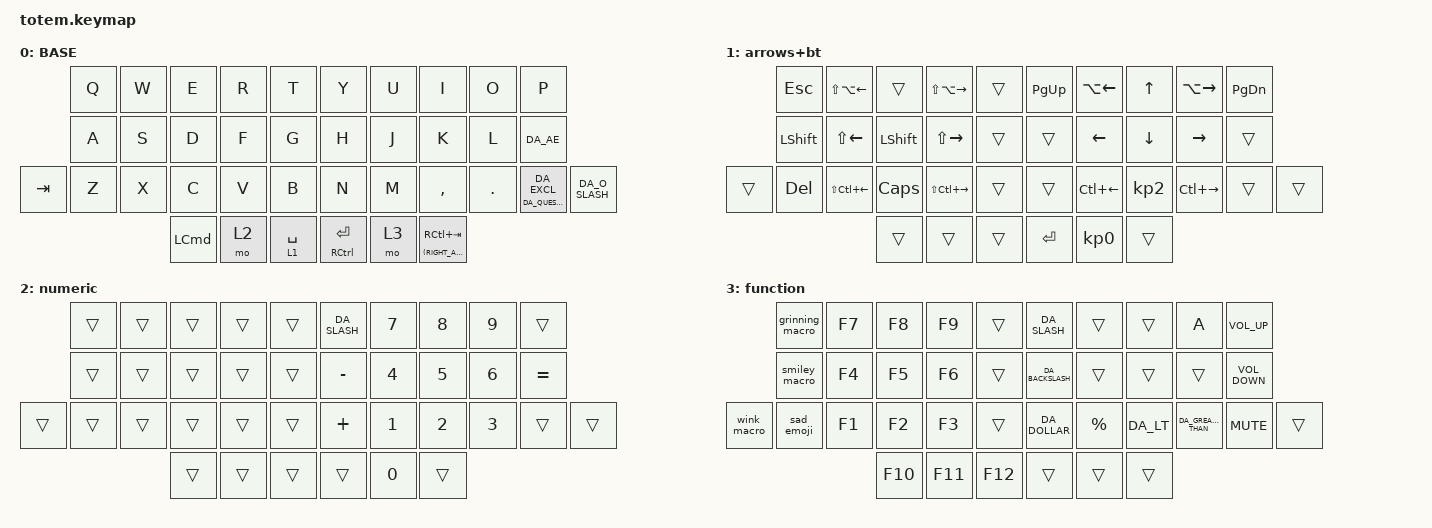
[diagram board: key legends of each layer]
//
//                                                        ▀▀▀▀▀     ▀▀▀▀▀          ▀▀█▀▀
//                                                        ▄▀▀▀▄  ▄  ▄▀▀▀▄  ▄  ▄▀▀▀▄  █  ▄▀▀▀▄
//                                                        █   █  █  █   █  █  █   █  █  █   █
//                                                         ▀▀▀   █   ▀▀▀   █   ▀▀▀   ▀   ▀▀▀
//                                                               █      ▄▄▄█▄▄▄    █   █
//                                                               ▀      █  █  █     █▄█
//                                                             ▀▀▀▀▀    █  █  █      ▀
//                                                                      ▀  ▀  ▀
//
// ▄▄▄▄▄▄▄▄▄▄▄▄▄▄▄▄▄▄▄▄▄▄▄▄▄▄▄▄▄▄▄▄▄▄▄▄▄▄▄▄▄▄▄▄▄▄▄▄▄▄▄▄▄▄▄▄▄▄▄▄▄▄▄▄▄▄▄▄▄▄▄▄▄▄▄▄▄▄▄▄▄▄▄▄▄▄▄▄▄▄▄▄▄▄▄▄▄▄▄▄▄▄▄▄▄▄▄▄▄▄▄▄▄▄▄▄▄▄▄▄▄▄▄▄▄▄▄▄▄▄▄▄▄▄▄▄▄▄▄▄▄▄▄▄▄▄▄▄▄

#include "keys_da.h"
#include <behaviors.dtsi>
#include <dt-bindings/zmk/bt.h>
#include <dt-bindings/zmk/keys.h>

#define BASE 0
#define NAV  1
#define SYM  2
#define ADJ  3
#define TVP1 4
#define TVP2 5

&mt {
    quick-tap-ms = <100>;
    global-quick-tap;
    flavor = "tap-preferred";
    tapping-term-ms = <170>;
};

/ {
    combos {
        compatible = "zmk,combos";

        combo_esc {
            timeout-ms = <50>;
            key-positions = <0 1>;
            bindings = <&kp ESC>;
        };

        backspace-combo {
            bindings = <&kp BACKSPACE>;
            key-positions = <6 7>;
            layers = <0 2 3>;
        };

        delete-combo {
            bindings = <&kp DELETE>;
            key-positions = <7 8>;
            layers = <0 2 3>;
        };

        a-ring-combo {
            bindings = <&kp DA_A_RING>;
            key-positions = <19 31>;
        };

        bt-clear-combo {
            bindings = <&bt BT_CLR>;
            key-positions = <9 30 21 0>;
        };

        minus-combo {
            bindings = <&kp DA_MINUS>;
            key-positions = <5 6>;
        };

        underscore-combo {
            bindings = <&kp DA_UNDER>;
            key-positions = <26 27>;
        };

        single-quote-combo {
            bindings = <&kp DA_SINGLE_QUOTE>;
            key-positions = <24 25>;
        };

        double-quote-combo {
            bindings = <&kp DA_DOUBLE_QUOTES>;
            key-positions = <3 4>;
        };

        copy-paste-combo {
            bindings = <&kp RC(C)>;
            key-positions = <8 1>;
        };

        paste-combo {
            bindings = <&kp RC(V)>;
            key-positions = <25 26>;
        };

        left-shift-combo {
            bindings = <&kp LEFT_SHIFT>;
            key-positions = <13 14>;
        };

        right-shift-combo {
            bindings = <&kp RIGHT_SHIFT>;
            key-positions = <15 16>;
        };

        bottom-shift-combo {
            bindings = <&kp LEFT_SHIFT>;
            key-positions = <36 33>;
        };

        semicolon-combo {
            bindings = <&kp DA_SEMICOLON>;
            key-positions = <16 17>;
        };

        colon-combo {
            bindings = <&kp DA_COLON>;
            key-positions = <17 18>;
        };

        left-paran-combo {
            bindings = <&kp DA_LEFT_PARENTHESIS>;
            key-positions = <2 1>;
        };

        right-paran-combo {
            bindings = <&kp DA_RIGHT_PARENTHESIS>;
            key-positions = <2 3>;
        };

        squared-bracket-combo {
            bindings = <&kp DA_LEFT_BRACKET>;
            key-positions = <11 12>;
        };

        square-bracket-close-combo {
            bindings = <&kp DA_RIGHT_BRACKET>;
            key-positions = <12 13>;
        };

        left-brace-combo {
            bindings = <&kp RS(RA(N8))>;
            key-positions = <23 22>;
        };

        right-brace-combo {
            bindings = <&kp RS(RA(N9))>;
            key-positions = <23 24>;
        };

        backspace-word-combo {
            bindings = <&kp RA(BACKSPACE)>;
            key-positions = <7 6>;
            layers = <1>;
        };

        delete-word-combo {
            bindings = <&kp RA(DELETE)>;
            key-positions = <7 8>;
            layers = <1>;
        };

        esc-combo {
            bindings = <&kp ESCAPE>;
            key-positions = <20 31>;
        };

        comment-code-combo {
            bindings = <&kp LC(KP_SLASH)>;
            key-positions = <4 14>;
        };

        Space {
            bindings = <&kp SPACE>;
            key-positions = <30 31>;
        };
    };

    macros {
        gif: gif {
            label = "giphy";
            compatible = "zmk,behavior-macro";
            #binding-cells = <0>;
            bindings =
                <&macro_press>,
                <&kp LSHFT>,
                <&macro_tap>,
                <&kp N2>,
                <&macro_release>,
                <&kp LSHFT>,
                <&macro_tap>,
                <&kp G &kp I &kp F>;
        };

        smiley_macro: smiley_macro {
            compatible = "zmk,behavior-macro";
            #binding-cells = <0>;
            bindings = <&kp DA_COLON &kp DA_RIGHT_PARENTHESIS &kp SPACE>;
            label = "SMILEY_MACRO";
        };

        wink_macro: wink_macro {
            compatible = "zmk,behavior-macro";
            #binding-cells = <0>;
            bindings = <&kp DA_SEMI &kp DA_RIGHT_PARENTHESIS &kp SPACE>;
            label = "WINK_MACRO";
        };

        grinning_macro: grinning_macro {
            compatible = "zmk,behavior-macro";
            #binding-cells = <0>;
            bindings = <&kp DA_COLON &kp LS(D) &kp SPACE>;
            label = "GRINNING_MACRO";
        };

        sad_emoji: sac_emoji {
            compatible = "zmk,behavior-macro";
            #binding-cells = <0>;
            bindings = <&kp DA_COLON &kp DA_LEFT_PARENTHESIS &kp SPACE>;
            label = "SAC_EMOJI";
        };
    };

    behaviors {
        ht: ht {
            compatible = "zmk,behavior-hold-tap";
            label = "HT";
            bindings = <&kp>, <&kp>;

            #binding-cells = <2>;
            tapping-term-ms = <200>;
            hold-trigger-key-positions = <37 15 5 6 7 8 9 19 31 30 29 18 17 28 16 27 26 36 0 1 2 3 4 5 6 7 8 9 10 11 12 13 14 15 16 17 18 19 20 21 22 23 24 25 26 27 28 29 30 31 32 33 34 35 36 37>;
        };
    };

    keymap {
        compatible = "zmk,keymap";

        // ▄▄▄▄▄▄▄▄▄▄▄▄▄▄▄▄▄▄▄▄▄▄▄▄▄▄▄▄▄▄▄▄▄▄▄▄▄▄▄▄▄▄▄▄▄▄▄▄▄▄▄▄▄▄▄▄▄▄▄▄▄▄▄▄▄▄▄▄▄▄▄▄▄▄▄▄▄▄▄▄▄▄▄▄▄▄▄▄▄▄▄▄▄▄▄▄▄▄▄▄▄▄▄▄▄▄▄▄▄▄▄▄▄▄▄▄▄▄▄▄▄▄▄▄▄▄▄▄▄▄▄▄▄▄▄▄▄▄▄▄▄▄▄▄▄▄▄▄▄

        base_layer {
            // ┏━━━━━━━━━━━━━━━━━━━━━━━━━━━━━━━━━━━━━━━┓

            label = "BASE";

            // ┗━━━━━━━━━━━━━━━━━━━━━━━━━━━━━━━━━━━━━━━┛
            //             ┏━━━━━━━━━━━┳━━━━━━━━━━━┳━━━━━━━━━━━┳━━━━━━━━━━━┳━━━━━━━━━━━┓   ┏━━━━━━━━━━━┳━━━━━━━━━━━┳━━━━━━━━━━━┳━━━━━━━━━━━┳━━━━━━━━━━━┓
            //             ┃     Q     ┃     W     ┃     F     ┃     P     ┃     G     ┃   ┃     J     ┃     L     ┃     U     ┃     Y     ┃     ;     ┃
            //             ┣━━━━━━━━━━━╋━━━━━━━━━━━╋━━━━━━━━━━━╋━━━━━━━━━━━╋━━━━━━━━━━━┫   ┣━━━━━━━━━━━╋━━━━━━━━━━━╋━━━━━━━━━━━╋━━━━━━━━━━━╋━━━━━━━━━━━┫
            //             ┃     A     ┃     R     ┃     S     ┃     T     ┃     D     ┃   ┃     H     ┃     N     ┃     E     ┃     I     ┃     O     ┃
            // ┏━━━━━━━━━━━╋━━━━━━━━━━━╋━━━━━━━━━━━╋━━━━━━━━━━━╋━━━━━━━━━━━╋━━━━━━━━━━━┫   ┣━━━━━━━━━━━╋━━━━━━━━━━━╋━━━━━━━━━━━╋━━━━━━━━━━━╋━━━━━━━━━━━╋━━━━━━━━━━━┓
            // ┃     Q     ┃     Z     ┃     X     ┃     C     ┃     V     ┃     B     ┃   ┃     K     ┃     M     ┃     ,     ┃     .     ┃     /     ┃     \     ┃
            // ┗━━━━━━━━━━━┻━━━━━━━━━━━┻━━━━━━━━━━━╋━━━━━━━━━━━╋━━━━━━━━━━━╋━━━━━━━━━━━┫   ┣━━━━━━━━━━━╋━━━━━━━━━━━╋━━━━━━━━━━━╋━━━━━━━━━━━┻━━━━━━━━━━━┻━━━━━━━━━━━┛
            //                                     ┃    DEL    ┃    TAB    ┃    SPC    ┃   ┃   ENTER   ┃           ┃   BSPC    ┃
            //                                     ┗━━━━━━━━━━━┻━━━━━━━━━━━┻━━━━━━━━━━━┛   ┗━━━━━━━━━━━┻━━━━━━━━━━━┻━━━━━━━━━━━┛

            bindings = <
         &kp Q  &kp W  &kp E             &kp R  &kp T          &kp Y                    &kp U  &kp I                    &kp O    &kp P
         &kp A  &kp S  &kp D             &kp F  &kp G          &kp H                    &kp J  &kp K                    &kp L    &kp DA_AE
&kp TAB  &kp Z  &kp X  &kp C             &kp V  &kp B          &kp N                    &kp M  &kp COMMA                &kp DOT  &mt DA_QUESTION DA_EXCL  &kp DA_O_SLASH
                       &kp LEFT_COMMAND  &mo 2  &lt 1 SPACE    &mt RIGHT_CONTROL ENTER  &mo 3  &ht (RIGHT_ALT) RC(TAB)
            >;
        };

        // ▄▄▄▄▄▄▄▄▄▄▄▄▄▄▄▄▄▄▄▄▄▄▄▄▄▄▄▄▄▄▄▄▄▄▄▄▄▄▄▄▄▄▄▄▄▄▄▄▄▄▄▄▄▄▄▄▄▄▄▄▄▄▄▄▄▄▄▄▄▄▄▄▄▄▄▄▄▄▄▄▄▄▄▄▄▄▄▄▄▄▄▄▄▄▄▄▄▄▄▄▄▄▄▄▄▄▄▄▄▄▄▄▄▄▄▄▄▄▄▄▄▄▄▄▄▄▄▄▄▄▄▄▄▄▄▄▄▄▄▄▄▄▄▄▄▄▄▄▄

        arrows {
            // ┏━━━━━━━━━━━━━━━━━━━━━━━━━━━━━━━━━━━━━━━┓

            label = "arrows+bt";

            // ┗━━━━━━━━━━━━━━━━━━━━━━━━━━━━━━━━━━━━━━━┛
            //             ┏━━━━━━━━━━━┳━━━━━━━━━━━┳━━━━━━━━━━━┳━━━━━━━━━━━┳━━━━━━━━━━━┓   ┏━━━━━━━━━━━┳━━━━━━━━━━━┳━━━━━━━━━━━┳━━━━━━━━━━━┳━━━━━━━━━━━┓
            //             ┃           ┃           ┃     UP    ┃           ┃     {     ┃   ┃     }     ┃     7     ┃     8     ┃     9     ┃     +     ┃
            //             ┣━━━━━━━━━━━╋━━━━━━━━━━━╋━━━━━━━━━━━╋━━━━━━━━━━━╋━━━━━━━━━━━┫   ┣━━━━━━━━━━━╋━━━━━━━━━━━╋━━━━━━━━━━━╋━━━━━━━━━━━╋━━━━━━━━━━━┫
            //             ┃   SHIFT   ┃   LEFT    ┃    DOWN   ┃   RIGHT   ┃     [     ┃   ┃     ]     ┃     4     ┃     5     ┃     6     ┃     -     ┃
            // ┏━━━━━━━━━━━╋━━━━━━━━━━━╋━━━━━━━━━━━╋━━━━━━━━━━━╋━━━━━━━━━━━╋━━━━━━━━━━━┫   ┣━━━━━━━━━━━╋━━━━━━━━━━━╋━━━━━━━━━━━╋━━━━━━━━━━━╋━━━━━━━━━━━╋━━━━━━━━━━━┓
            // ┃           ┃           ┃   P UP    ┃  C LOCK   ┃  P DOWN   ┃     (     ┃   ┃     )     ┃     1     ┃     2     ┃     3     ┃     *     ┃           ┃
            // ┗━━━━━━━━━━━┻━━━━━━━━━━━┻━━━━━━━━━━━╋━━━━━━━━━━━╋━━━━━━━━━━━╋━━━━━━━━━━━┫   ┣━━━━━━━━━━━╋━━━━━━━━━━━╋━━━━━━━━━━━╋━━━━━━━━━━━┻━━━━━━━━━━━┻━━━━━━━━━━━┛
            //                                     ┃           ┃    TAB    ┃    SPC    ┃   ┃    DEL    ┃     0     ┃           ┃
            //                                     ┗━━━━━━━━━━━┻━━━━━━━━━━━┻━━━━━━━━━━━┛   ┗━━━━━━━━━━━┻━━━━━━━━━━━┻━━━━━━━━━━━┛

            bindings = <
        &kp ESC    &kp LS(LA(LEFT))  &trans     &kp LS(LA(RIGHT))  &trans    &kp PG_UP  &kp LA(LEFT)  &kp UP     &kp LA(RIGHT)  &kp PG_DN
        &kp LSHFT  &kp LS(LEFT)      &kp LSHFT  &kp LS(RIGHT)      &trans    &trans     &kp LEFT      &kp DOWN   &kp RIGHT      &trans
&trans  &kp DEL    &kp LS(LC(LEFT))  &kp CAPS   &kp LS(LC(RIGHT))  &trans    &trans     &kp LC(LEFT)  &kp KP_N2  &kp LC(RIGHT)  &trans     &trans
                                     &trans     &trans             &trans    &kp RET    &kp KP_N0     &trans
            >;
        };

        // ▄▄▄▄▄▄▄▄▄▄▄▄▄▄▄▄▄▄▄▄▄▄▄▄▄▄▄▄▄▄▄▄▄▄▄▄▄▄▄▄▄▄▄▄▄▄▄▄▄▄▄▄▄▄▄▄▄▄▄▄▄▄▄▄▄▄▄▄▄▄▄▄▄▄▄▄▄▄▄▄▄▄▄▄▄▄▄▄▄▄▄▄▄▄▄▄▄▄▄▄▄▄▄▄▄▄▄▄▄▄▄▄▄▄▄▄▄▄▄▄▄▄▄▄▄▄▄▄▄▄▄▄▄▄▄▄▄▄▄▄▄▄▄▄▄▄▄▄▄
        // ▄▄▄▄▄▄▄▄▄▄▄▄▄▄▄▄▄▄▄▄▄▄▄▄▄▄▄▄▄▄▄▄▄▄▄▄▄▄▄▄▄▄▄▄▄▄▄▄▄▄▄▄▄▄▄▄▄▄▄▄▄▄▄▄▄▄▄▄▄▄▄▄▄▄▄▄▄▄▄▄▄▄▄▄▄▄▄▄▄▄▄▄▄▄▄▄▄▄▄▄▄▄▄▄▄▄▄▄▄▄▄▄▄▄▄▄▄▄▄▄▄▄▄▄▄▄▄▄▄▄▄▄▄▄▄▄▄▄▄▄▄▄▄▄▄▄▄▄▄
        // ▄▄▄▄▄▄▄▄▄▄▄▄▄▄▄▄▄▄▄▄▄▄▄▄▄▄▄▄▄▄▄▄▄▄▄▄▄▄▄▄▄▄▄▄▄▄▄▄▄▄▄▄▄▄▄▄▄▄▄▄▄▄▄▄▄▄▄▄▄▄▄▄▄▄▄▄▄▄▄▄▄▄▄▄▄▄▄▄▄▄▄▄▄▄▄▄▄▄▄▄▄▄▄▄▄▄▄▄▄▄▄▄▄▄▄▄▄▄▄▄▄▄▄▄▄▄▄▄▄▄▄▄▄▄▄▄▄▄▄▄▄▄▄▄▄▄▄▄▄
        // ▄▄▄▄▄▄▄▄▄▄▄▄▄▄▄▄▄▄▄▄▄▄▄▄▄▄▄▄▄▄▄▄▄▄▄▄▄▄▄▄▄▄▄▄▄▄▄▄▄▄▄▄▄▄▄▄▄▄▄▄▄▄▄▄▄▄▄▄▄▄▄▄▄▄▄▄▄▄▄▄▄▄▄▄▄▄▄▄▄▄▄▄▄▄▄▄▄▄▄▄▄▄▄▄▄▄▄▄▄▄▄▄▄▄▄▄▄▄▄▄▄▄▄▄▄▄▄▄▄▄▄▄▄▄▄▄▄▄▄▄▄▄▄▄▄▄▄▄▄

        numeric {
            bindings = <
        &trans  &trans  &trans  &trans  &trans    &kp DA_SLASH  &kp N7  &kp N8  &kp N9  &trans
        &trans  &trans  &trans  &trans  &trans    &kp MINUS     &kp N4  &kp N5  &kp N6  &kp EQUAL
&trans  &trans  &trans  &trans  &trans  &trans    &kp PLUS      &kp N1  &kp N2  &kp N3  &trans     &trans
                        &trans  &trans  &trans    &trans        &kp N0  &trans
            >;
        };

        function {
            bindings = <
             &grinning_macro  &kp F7  &kp F8   &kp F9   &trans     &kp DA_SLASH      &trans       &trans     &kp A                &kp C_VOLUME_UP
             &smiley_macro    &kp F4  &kp F5   &kp F6   &trans     &kp DA_BACKSLASH  &trans       &trans     &trans               &kp C_VOLUME_DOWN
&wink_macro  &sad_emoji       &kp F1  &kp F2   &kp F3   &trans     &kp DA_DOLLAR     &kp PERCENT  &kp DA_LT  &kp DA_GREATER_THAN  &kp K_MUTE         &trans
                                      &kp F10  &kp F11  &kp F12    &trans            &trans       &trans
            >;
        };
    };
};
